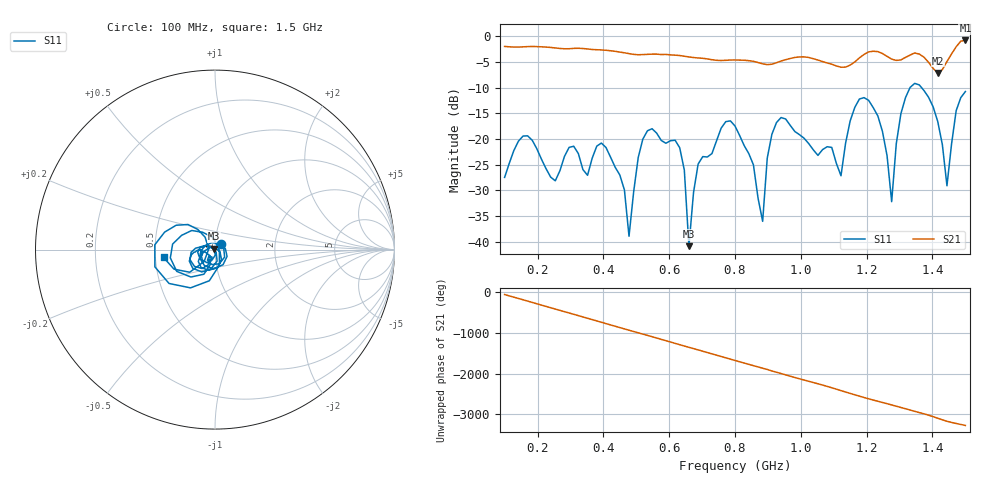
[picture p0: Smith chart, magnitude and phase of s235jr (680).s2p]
! NanoVNA-App
! Date: 2025-09-25 15:09:28
! Start: 100MHz Stop: 1,5GHz Points: 101
! S-Parameter data: F S11 S21 S12 S22
# Hz S RI R 50
!  Frequency  S11_Real  S11_Imag  S21_Real  S21_Imag  S12_Real  S12_Imag  S22_Real  S22_Imag
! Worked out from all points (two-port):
!   101 points, 100 MHz to 1.5 GHz, reference 50 ohm
!   highest |S21| = -0.80 dB at 1.5 GHz (marker M1); lowest = -7.1 dB at 1.416 GHz (marker M2)
!   |S21| within 3 dB of the highest: start of sweep to 638.8 MHz; 1.186 GHz to 1.259 GHz (73.3 MHz wide, 5.99 % of centre) (the widest 2 of 4)
!   lowest |S11| = -40.9 dB at 660 MHz (marker M3), VSWR 1.02, Z = 49.3 + j0.544 ohm
!   |S11| at or under -10 dB: start of sweep to 1.332 GHz; 1.367 GHz to end of sweep
!   S12 and S22 are empty: the file has one direction only
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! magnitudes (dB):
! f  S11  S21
! 100 MHz  -27.5  -2.0
! 156 MHz  -19.4  -2.0
! 338 MHz  -26.0  -2.4
! 408 MHz  -21.6  -2.7
! 478 MHz  -38.9  -3.4
! 520 MHz  -20.0  -3.6
! 576 MHz  -20.3  -3.5
! 632 MHz  -21.7  -3.7
! 660 MHz  -40.9  -4.0
! 688 MHz  -24.9  -4.2
! 800 MHz  -17.5  -4.6
! 884 MHz  -36.0  -5.4
! 926 MHz  -16.8  -5.1
! 1.038 GHz  -22.1  -4.4
! 1.122 GHz  -27.1  -6.0
! 1.206 GHz  -12.5  -3.0
! 1.276 GHz  -32.2  -4.4
! 1.304 GHz  -15.1  -4.6
! 1.332 GHz  -9.9  -3.6
! 1.416 GHz  -16.6  -7.1
! 1.444 GHz  -29.1  -4.9
! 1.5 GHz  -10.7  -0.8
